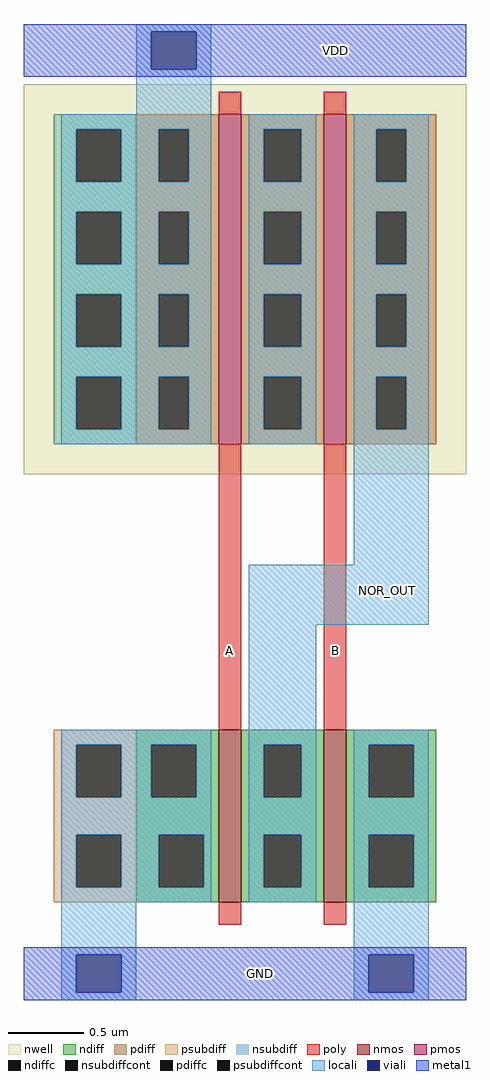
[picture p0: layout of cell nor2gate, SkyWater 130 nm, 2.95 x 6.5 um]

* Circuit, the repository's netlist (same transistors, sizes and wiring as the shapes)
* NGSPICE file created from nor2gate.ext - technology: sky130A

.subckt nor2gate VDD GND NOR_OUT A B
X0 NOR_OUT B a_n120_610# VDD sky130_fd_pr__pfet_01v8 ad=1.32 pd=5.6 as=0.605 ps=2.75 w=2.2 l=0.15
**devattr s=24200,550 d=52800,1120
X1 NOR_OUT A GND GND sky130_fd_pr__nfet_01v8 ad=0.316 pd=1.7 as=0.661 ps=3.45 w=1.15 l=0.15
**devattr s=25300,680 d=12650,340
X2 GND B NOR_OUT GND sky130_fd_pr__nfet_01v8 ad=0.661 pd=3.45 as=0.316 ps=1.7 w=1.15 l=0.15
**devattr s=12650,340 d=27600,700
X3 a_n120_610# A VDD VDD sky130_fd_pr__pfet_01v8 ad=0.605 pd=2.75 as=1.21 ps=5.5 w=2.2 l=0.15
**devattr s=48400,1100 d=24200,550
.ends

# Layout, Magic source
magic
tech sky130A
<< nwell >>
rect -205 285 90 545
<< nmos >>
rect -75 0 -60 115
rect -5 0 10 115
<< pmos >>
rect -75 305 -60 525
rect -5 305 10 525
<< ndiff >>
rect -130 105 -75 115
rect -130 70 -120 105
rect -90 70 -75 105
rect -130 45 -75 70
rect -130 10 -115 45
rect -85 10 -75 45
rect -130 0 -75 10
rect -60 105 -5 115
rect -60 70 -45 105
rect -20 70 -5 105
rect -60 45 -5 70
rect -60 10 -45 45
rect -20 10 -5 45
rect -60 0 -5 10
rect 10 105 70 115
rect 10 70 25 105
rect 55 70 70 105
rect 10 45 70 70
rect 10 10 25 45
rect 55 10 70 45
rect 10 0 70 10
<< pdiff >>
rect -130 515 -75 525
rect -130 480 -115 515
rect -95 480 -75 515
rect -130 460 -75 480
rect -130 425 -115 460
rect -95 425 -75 460
rect -130 405 -75 425
rect -130 370 -115 405
rect -95 370 -75 405
rect -130 350 -75 370
rect -130 315 -115 350
rect -95 315 -75 350
rect -130 305 -75 315
rect -60 515 -5 525
rect -60 480 -45 515
rect -20 480 -5 515
rect -60 460 -5 480
rect -60 425 -45 460
rect -20 425 -5 460
rect -60 405 -5 425
rect -60 370 -45 405
rect -20 370 -5 405
rect -60 350 -5 370
rect -60 315 -45 350
rect -20 315 -5 350
rect -60 305 -5 315
rect 10 515 70 525
rect 10 480 30 515
rect 50 480 70 515
rect 10 460 70 480
rect 10 425 30 460
rect 50 425 70 460
rect 10 405 70 425
rect 10 370 30 405
rect 50 370 70 405
rect 10 350 70 370
rect 10 315 30 350
rect 50 315 70 350
rect 10 305 70 315
<< ndiffc >>
rect -120 70 -90 105
rect -115 10 -85 45
rect -45 70 -20 105
rect -45 10 -20 45
rect 25 70 55 105
rect 25 10 55 45
<< pdiffc >>
rect -115 480 -95 515
rect -115 425 -95 460
rect -115 370 -95 405
rect -115 315 -95 350
rect -45 480 -20 515
rect -45 425 -20 460
rect -45 370 -20 405
rect -45 315 -20 350
rect 30 480 50 515
rect 30 425 50 460
rect 30 370 50 405
rect 30 315 50 350
<< psubdiff >>
rect -185 105 -130 115
rect -185 70 -170 105
rect -140 70 -130 105
rect -185 45 -130 70
rect -185 10 -170 45
rect -140 10 -130 45
rect -185 0 -130 10
<< nsubdiff >>
rect -185 515 -130 525
rect -185 480 -170 515
rect -140 480 -130 515
rect -185 460 -130 480
rect -185 425 -170 460
rect -140 425 -130 460
rect -185 405 -130 425
rect -185 370 -170 405
rect -140 370 -130 405
rect -185 350 -130 370
rect -185 315 -170 350
rect -140 315 -130 350
rect -185 305 -130 315
<< psubdiffcont >>
rect -170 70 -140 105
rect -170 10 -140 45
<< nsubdiffcont >>
rect -170 480 -140 515
rect -170 425 -140 460
rect -170 370 -140 405
rect -170 315 -140 350
<< poly >>
rect -75 525 -60 540
rect -5 525 10 540
rect -75 115 -60 305
rect -5 115 10 305
rect -75 -15 -60 0
rect -5 -15 10 0
<< locali >>
rect -130 580 -80 585
rect -130 555 -120 580
rect -90 555 -80 580
rect -130 525 -80 555
rect -180 515 -80 525
rect -180 480 -170 515
rect -140 480 -115 515
rect -95 480 -80 515
rect -180 460 -80 480
rect -180 425 -170 460
rect -140 425 -115 460
rect -95 425 -80 460
rect -180 405 -80 425
rect -180 370 -170 405
rect -140 370 -115 405
rect -95 370 -80 405
rect -180 350 -80 370
rect -180 315 -170 350
rect -140 315 -115 350
rect -95 315 -80 350
rect -180 305 -80 315
rect -55 515 -10 525
rect -55 480 -45 515
rect -20 480 -10 515
rect -55 460 -10 480
rect -55 425 -45 460
rect -20 425 -10 460
rect -55 405 -10 425
rect -55 370 -45 405
rect -20 370 -10 405
rect -55 350 -10 370
rect -55 315 -45 350
rect -20 315 -10 350
rect -55 305 -10 315
rect 15 515 65 525
rect 15 480 30 515
rect 50 480 65 515
rect 15 460 65 480
rect 15 425 30 460
rect 50 425 65 460
rect 15 405 65 425
rect 15 370 30 405
rect 50 370 65 405
rect 15 350 65 370
rect 15 315 30 350
rect 50 315 65 350
rect 15 225 65 315
rect -55 185 65 225
rect -180 105 -80 115
rect -180 70 -170 105
rect -140 70 -120 105
rect -90 70 -80 105
rect -180 45 -80 70
rect -180 10 -170 45
rect -140 10 -115 45
rect -85 10 -80 45
rect -180 0 -80 10
rect -55 105 -10 185
rect -55 70 -45 105
rect -20 70 -10 105
rect -55 45 -10 70
rect -55 10 -45 45
rect -20 10 -10 45
rect -55 0 -10 10
rect 15 105 65 115
rect 15 70 25 105
rect 55 70 65 105
rect 15 45 65 70
rect 15 10 25 45
rect 55 10 65 45
rect -180 -35 -130 0
rect -180 -60 -170 -35
rect -140 -60 -130 -35
rect -180 -65 -130 -60
rect 15 -35 65 10
rect 15 -60 25 -35
rect 55 -60 65 -35
rect 15 -65 65 -60
<< viali >>
rect -120 555 -90 580
rect -170 -60 -140 -35
rect 25 -60 55 -35
<< metal1 >>
rect -205 580 90 585
rect -205 555 -120 580
rect -90 555 90 580
rect -205 550 90 555
rect -205 -35 90 -30
rect -205 -60 -170 -35
rect -140 -60 25 -35
rect 55 -60 90 -35
rect -205 -65 90 -60
<< labels >>
flabel metal1 -5 560 10 575 0 FreeSans 160 0 -2 224 VDD
port 2 nsew
flabel metal1 -55 -55 -40 -40 0 FreeSans 160 0 -22 -22 GND
port 4 nsew
flabel locali 30 200 45 215 0 FreeSans 160 0 12 80 NOR_OUT
port 6 nsew
flabel poly -75 160 -60 175 7 FreeSans 160 0 -30 64 A
port 8 w
flabel poly -5 160 10 175 3 FreeSans 160 0 -2 64 B
port 11 e
<< end >>
